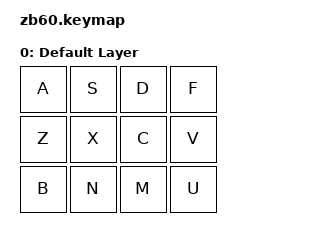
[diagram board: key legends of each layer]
/*
 * Copyright (c) 2020 The ZMK Contributors
 *
 * SPDX-License-Identifier: MIT
 */

//#include <behaviors.dtsi>
#include <zmk/keymap.h>
#include "zb60.dtsi"
#include <dt-bindings/zmk/keys.h>
#include <dt-bindings/zmk/bt.h>

/ {
    keymap0: keymap {
        compatible = "zmk,keymap";

        default_layer {
            display-name = "Default Layer";
// ------------------------------------------------------------------------------------------
// | ESC |  1  |  2  |  3  |  4  |  5  |  6  |  7  |  8  |  9  |  0  |  -  |  =  |   BSPC   |
// | TAB  |  Q  |  W  |  E  |  R  |  T  |  Y  |  U  |  I  |  O  |  P  |  [  |  ]  |    \    |
// | CAPS  |  A  |  S  |  D  |  F  |  G  |  H  |  J  |  K  |  L  |  ;  |  '  |     ENTER    |
// |  SHIFT  |  Z  |  X  |  C  |  V  |  B  |  N  |  M  |  ,  |  .  |  /  |      SHIFT       |
// |  CTL  |  WIN  |  ALT  |            SPACE               | ALT | MO(1) |  WIN  | CTRL    |
// ------------------------------------------------------------------------------------------
            bindings = <
                &kp A  &kp S  &kp D  &kp F  
                &kp Z  &kp X  &kp C  &kp V  
                &kp B  &kp N  &kp M  &kp U
            >;
        };
    };
};
